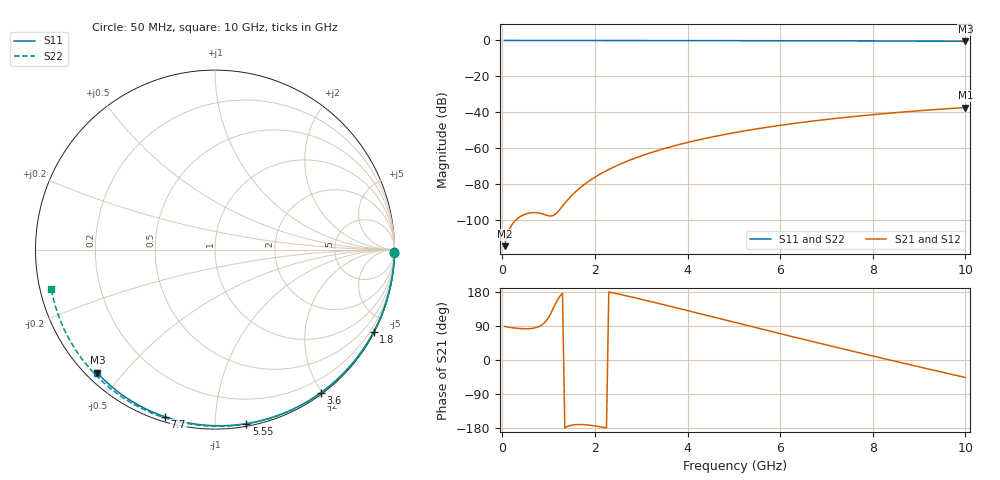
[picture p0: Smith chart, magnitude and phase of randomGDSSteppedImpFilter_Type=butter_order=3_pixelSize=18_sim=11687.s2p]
! freq	dB(S11)	phase(S11)	dB(S12)	phase(S12)
!  dB(S21)	phase(S21)	dB(S22)	phase(S22)
!S-par simulation data
#  GHz  S  DB  R 50
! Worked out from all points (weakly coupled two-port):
!   200 points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, 50 MHz to 10 GHz, reference 50 ohm
!   highest |S21| = -37.30 dB at 10 GHz (marker M1); lowest = -114.4 dB at 50 MHz (marker M2)
!   lowest |S11| = -0.5 dB at 10 GHz (marker M3), VSWR 38.45, Z = 1.54 - j21.4 ohm
!   |S11| at or under -10 dB: nowhere
!   |S22| runs from -0.6 to 0.0 dB; largest |S21 - S12| = 0
!   S11 on the Smith chart (normalised r, x): 50 MHz: open; 1.8 GHz: 0.04, -4.11; 3.6 GHz: 0.02, -1.99; 5.55 GHz: 0.02, -1.20; 7.7 GHz: 0.02, -0.74; 10 GHz: 0.03, -0.43
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0.05  -0.00 -0.8  -114.39 88.7  -114.39 88.7  -0.00 -1.0
0.45  -0.01 -6.9  -97.06 82.5  -97.06 82.5  -0.01 -8.6
0.85  -0.02 -13.0  -96.33 92.2  -96.33 92.2  -0.02 -16.2
1.3  -0.02 -19.8  -92.13 175.9  -92.13 175.9  -0.03 -24.6
1.75  -0.03 -26.6  -80.49 -170.5  -80.49 -170.5  -0.04 -33.0
1.8  -0.03 -27.3  -79.51 -171.0  -79.51 -171.0  -0.04 -33.9
1.95  -0.04 -29.5  -76.85 -173.1  -76.85 -173.1  -0.05 -36.7
2.1  -0.04 -31.8  -74.50 -176.0  -74.50 -176.0  -0.05 -39.4
2.3  -0.04 -34.7  -71.73 179.4  -71.73 179.4  -0.06 -43.0
2.5  -0.05 -37.6  -69.28 174.3  -69.28 174.3  -0.06 -46.6
2.9  -0.06 -43.4  -65.12 163.2  -65.12 163.2  -0.07 -53.8
3.4  -0.07 -50.6  -60.87 148.5  -60.87 148.5  -0.08 -62.5
3.6  -0.07 -53.4  -59.39 142.5  -59.39 142.5  -0.09 -66.0
4.3  -0.09 -63.1  -54.93 121.2  -54.93 121.2  -0.11 -77.8
5.05  -0.11 -73.2  -51.10 98.4  -51.10 98.4  -0.14 -90.1
5.55  -0.13 -79.8  -48.94 83.2  -48.94 83.2  -0.16 -98.1
6.1  -0.15 -86.9  -46.84 66.6  -46.84 66.6  -0.19 -106.7
6.7  -0.18 -94.4  -44.83 48.6  -44.83 48.6  -0.23 -115.9
7.7  -0.24 -106.6  -42.01 19.2  -42.01 19.2  -0.30 -131.1
8.35  -0.29 -114.4  -40.46 0.4  -40.46 0.4  -0.36 -140.9
9.2  -0.37 -124.4  -38.70 -23.7  -38.70 -23.7  -0.45 -153.8
10  -0.45 -133.7  -37.30 -46.2  -37.30 -46.2  -0.55 -166.4
